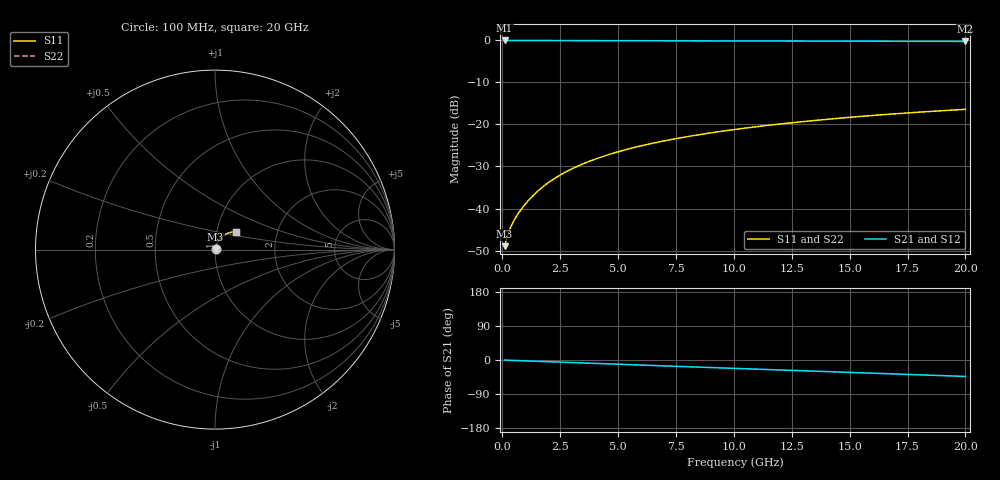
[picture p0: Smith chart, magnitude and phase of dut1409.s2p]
! Touchstone file exported from HFSS 2026.1.0
!  File:  C:/ffzhzh/LocalFiles/Ansys_Project_Files/temp_train_TMRDL_1409_1783166517_55132.aedt
!  Generated:  08:03:02 PM Jul  4, 2026
!  Design:  TMRDL
!  Project:  temp_train_TMRDL_1409_1783166517_55132
! Variables:
!  h_bsmrdl = 2um
!  h_ox = 20um
!  h_rdl = 5um
!  h_sub = 80um
!  h_tmrdl = 4.09um
!  h_tsv = 80um
!  h_via = 3um
!  l_bsmrdl = 300um
!  l_sub = 1156.68um
!  l_tmrdl = 756.68um
!  m_sub = 200um
!  pitch = 30.05um
!  r_tsv = 6um
!  s_tmrdl = 10um
!  w_bsmrdl = 18um
!  w_sub = 500um
!  w_tmrdl = 21.77um
!  x_tsv_center1 = 767.565um
!  x_tsv_center2 = 1085.565um
!  x_tsv_center3 = 1864.015um
!  x_tsv_center4 = 2182.015um
!  x_tsv_center5 = 2960.465um
!  x_tsv_center6 = 3278.465um
# GHz S MA R 50.000000
! Terminal data exported
! Port[1] = TM_RDL1_1_T1
! Port[2] = TM_RDL1_1_T2
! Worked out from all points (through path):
!   200 points, 100 MHz to 20 GHz, reference 50 ohm
!   highest |S21| = -0.03 dB at 100 MHz (marker M1); lowest = -0.3 dB at 20 GHz (marker M2)
!   group delay of S21, straight-line fit = 6 ps
!   lowest |S11| = -49.0 dB at 100 MHz (marker M3), VSWR 1.01, Z = 50.3 + j0.145 ohm
!   |S11| at or under -10 dB: start of sweep to end of sweep
!   |S22| runs from -49.0 to -16.4 dB; largest |S21 - S12| = 4.3e-15
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0.1  0.003567 23.9  0.9967 -0.3  0.9967 -0.3  0.003567 23.9
! Gamma 0 0 0 0
! Port Impedance 50 0 50 0
0.2  0.004495 36.8  0.9964 -0.5  0.9964 -0.5  0.004495 36.8
0.3  0.005445 43.5  0.9961 -0.7  0.9961 -0.7  0.005447 43.6
0.4  0.006328 48.0  0.9958 -1.0  0.9958 -1.0  0.006331 48.0
0.5  0.007166 51.4  0.9957 -1.2  0.9957 -1.2  0.00717 51.4
0.8  0.009655 59.0  0.9953 -1.8  0.9953 -1.8  0.00966 59.0
1  0.01137 62.5  0.9952 -2.3  0.9952 -2.3  0.01137 62.5
1.2  0.01313 65.0  0.995 -2.7  0.995 -2.7  0.01313 65.0
1.4  0.01492 66.8  0.9949 -3.2  0.9949 -3.2  0.01492 66.8
1.7  0.01765 68.7  0.9946 -3.9  0.9946 -3.9  0.01765 68.7
2.2  0.02225 70.4  0.9942 -5.0  0.9942 -5.0  0.02225 70.4
2.8  0.02776 71.0  0.9936 -6.3  0.9936 -6.3  0.02776 71.0
3.5  0.03411 70.8  0.9927 -7.9  0.9927 -7.9  0.03412 70.7
4.2  0.04034 70.0  0.9918 -9.4  0.9918 -9.4  0.04034 70.0
5  0.04728 68.9  0.9907 -11.2  0.9907 -11.2  0.04728 68.8
5.9  0.05486 67.3  0.9894 -13.2  0.9894 -13.2  0.05487 67.3
6.8  0.06222 65.7  0.9882 -15.1  0.9882 -15.1  0.06223 65.7
8.3  0.07404 63.0  0.9861 -18.4  0.9861 -18.4  0.07405 62.9
10.1  0.08759 59.6  0.9836 -22.3  0.9836 -22.3  0.0876 59.6
13.4  0.1109 53.3  0.9794 -29.4  0.9794 -29.4  0.1109 53.3
16.7  0.1321 47.0  0.9752 -36.4  0.9752 -36.4  0.1322 46.9
20  0.1512 40.6  0.9713 -43.4  0.9713 -43.4  0.1512 40.4
